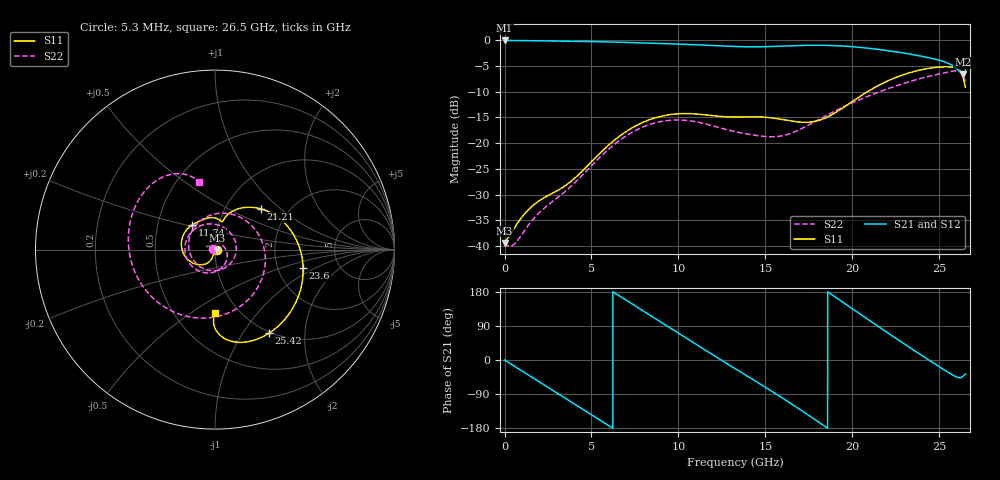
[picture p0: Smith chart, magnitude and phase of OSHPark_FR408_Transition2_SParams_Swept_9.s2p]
! TOUCHSTONE file generated by CST MICROWAVE STUDIO
! Date and time: Tue Jan  7 09:43:15 2020
! Project name: OSHPark_FR408_Transition2.cst
! Parameters = {GND_Plane_XMax=11.75; Cap_Disk_XOffset=0; Cap_Disk2_YCenter=-1.03; Cap_Disk_YCenter=1.03; Cap_Disk_XCenter=7.39; Cap_Disk_Radius=0.5; BottomSupport_Left_YMax=4.76; BottomSupport_Left_YMin=3.74; BottomSupport_Right_YMax=-3.74; BottomSupport_Right_YMin=-4.76; BottomSupport_XMax=11.64; 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
! Header version: 2015
! Port assignment regex: !\s*Touchstone port\s*([0-9]+)\s*=\s*CST MWS port\s*([0-9]+)\s*\(\"(.*)\"\)(\s*mode\s*([0-9]+))?.*
! Touchstone port assignment:
! Touchstone port 1 = CST MWS port 1 ("")
! Touchstone port 2 = CST MWS port 2 ("")
# GHz S MA R 50
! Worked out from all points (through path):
!   5000 points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, 5.3 MHz to 26.5 GHz, reference 50 ohm
!   highest |S21| = 0.00 dB at 5.3 MHz (marker M1); lowest = -6.6 dB at 26.35 GHz (marker M2)
!   group delay of S21, straight-line fit = 81.8 ps
!   lowest |S11| = -39.5 dB at 5.3 MHz (marker M3), VSWR 1.02, Z = 50.9 - j0.505 ohm
!   |S11| at or under -10 dB: start of sweep to 20.86 GHz
!   |S22| runs from -40.1 to -5.9 dB; largest |S21 - S12| = 0
!   S11 on the Smith chart (normalised r, x): 5.3 MHz: 1.02, -0.01; 11.74 GHz: 0.75, +0.21; 21.21 GHz: 1.46, +0.75; 23.6 GHz: 2.78, -0.75; 25.42 GHz: 0.98, -1.32; 26.5 GHz: 0.79, -0.63
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0.0053  0.01065 -27.7  1 -0.2  1 -0.2  0.01078 151.1
1.1183  0.02017 -83.3  0.9961 -32.3  0.9961 -32.3  0.01386 172.0
2.4062  0.03027 -105.8  0.9905 -69.4  0.9905 -69.4  0.02424 133.0
3.4026  0.03766 -109.3  0.9854 -98.2  0.9854 -98.2  0.03288 83.7
4.4255  0.05264 -109.5  0.9792 -127.8  0.9792 -127.8  0.04787 29.3
5.512  0.08075 -117.4  0.9711 -159.2  0.9711 -159.2  0.07374 -22.4
6.5296  0.1141 -132.2  0.9618 171.3  0.9618 171.3  0.1038 -64.6
7.5737  0.1483 -151.2  0.9505 141.0  0.9505 141.0  0.134 -104.1
8.8404  0.1799 -176.2  0.9356 104.4  0.9356 104.4  0.1604 -149.4
10.1866  0.194 158.0  0.9192 65.4  0.9192 65.4  0.1678 164.2
11.7395  0.1872 133.0  0.8974 20.5  0.8974 20.5  0.1511 111.9
13.2553  0.1797 115.4  0.8734 -22.8  0.8734 -22.8  0.1294 58.5
15.5979  0.174 87.3  0.8772 -89.1  0.8772 -89.1  0.1157 -67.0
16.6049  0.1631 78.6  0.8904 -119.0  0.8904 -119.0  0.1274 -135.2
17.6702  0.1611 75.1  0.8978 -151.7  0.8978 -151.7  0.1563 156.5
19.2549  0.2096 69.8  0.8859 158.7  0.8859 158.7  0.2161 67.0
21.2106  0.3428 41.4  0.8292 97.2  0.8292 97.2  0.3006 -25.6
22.0851  0.4074 23.2  0.7935 70.1  0.7935 70.1  0.3408 -61.6
23.6009  0.5014 -11.7  0.7218 23.8  0.7218 23.8  0.4118 -119.6
25.4188  0.5543 -57.4  0.6082 -30.1  0.6082 -30.1  0.4888 170.6
26.3516  0.4422 -89.7  0.4673 -43.4  0.4673 -43.4  0.4726 116.5
26.5  0.3504 -89.2  0.5163 -37.1  0.5163 -37.1  0.381 102.6
